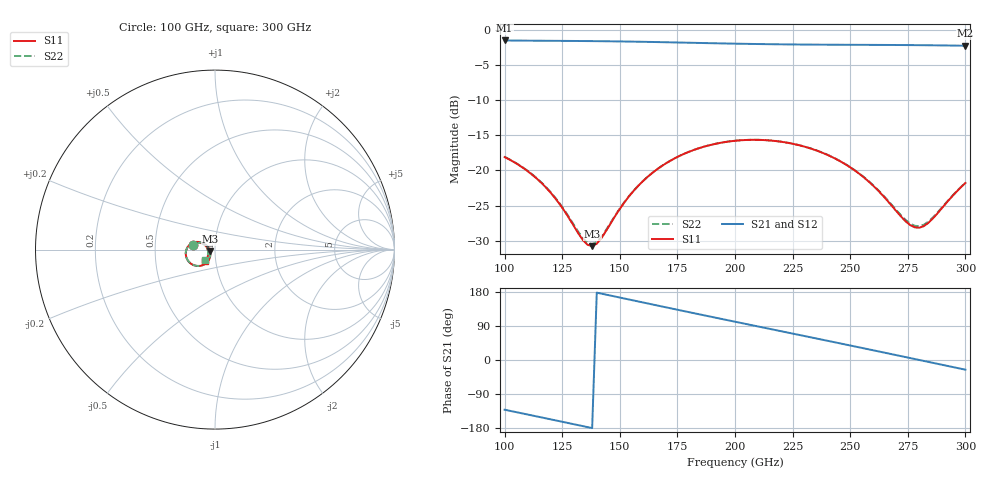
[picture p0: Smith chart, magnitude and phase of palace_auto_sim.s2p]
#  GHZ S DB R 50
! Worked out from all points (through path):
!   101 points, 100 GHz to 300 GHz, reference 50 ohm
!   highest |S21| = -1.46 dB at 100 GHz (marker M1); lowest = -2.2 dB at 300 GHz (marker M2)
!   group delay of S21, straight-line fit = 3.53 ps
!   lowest |S11| = -30.8 dB at 138 GHz (marker M3), VSWR 1.06, Z = 47.3 - j0.832 ohm
!   |S11| at or under -10 dB: start of sweep to end of sweep
!   |S22| runs from -30.5 to -15.6 dB; largest |S21 - S12| = 9.5e-14
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100  -18.09 167.3  -1.46 -131.2  -1.46 -131.2  -18.06 167.6
110  -20.09 158.0  -1.49 -143.9  -1.49 -143.9  -20.05 158.4
118  -22.44 153.3  -1.50 -154.0  -1.50 -154.0  -22.38 153.8
124  -24.85 153.5  -1.52 -161.7  -1.52 -161.7  -24.74 154.1
134  -29.92 175.3  -1.54 -174.6  -1.54 -174.6  -29.68 175.6
138  -30.79 -162.3  -1.55 -179.7  -1.55 -179.7  -30.52 -162.8
142  -29.66 -140.8  -1.57 175.1  -1.57 175.1  -29.47 -141.9
150  -25.47 -122.3  -1.60 164.8  -1.60 164.8  -25.42 -123.2
156  -22.90 -120.6  -1.63 157.1  -1.63 157.1  -22.87 -121.3
168  -19.41 -127.1  -1.70 141.6  -1.70 141.6  -19.40 -127.6
184  -16.86 -141.8  -1.81 121.2  -1.81 121.2  -16.86 -142.1
200  -15.76 -158.2  -1.92 101.0  -1.92 101.0  -15.76 -158.4
216  -15.74 -174.5  -2.00 81.0  -2.00 81.0  -15.74 -174.7
224  -16.12 177.5  -2.03 71.0  -2.03 71.0  -16.11 177.4
234  -16.99 168.2  -2.05 58.5  -2.05 58.5  -16.97 168.1
252  -20.00 154.9  -2.08 35.8  -2.08 35.8  -19.96 155.0
260  -22.17 153.0  -2.09 25.6  -2.09 25.6  -22.11 153.2
268  -25.01 157.7  -2.10 15.4  -2.10 15.4  -24.89 158.0
276  -27.78 177.3  -2.12 5.2  -2.12 5.2  -27.56 177.1
280  -28.16 -166.7  -2.13 0.1  -2.13 0.1  -27.94 -167.5
286  -26.81 -145.6  -2.15 -7.6  -2.15 -7.6  -26.66 -146.9
300  -21.78 -131.4  -2.21 -25.6  -2.21 -25.6  -21.76 -132.7
